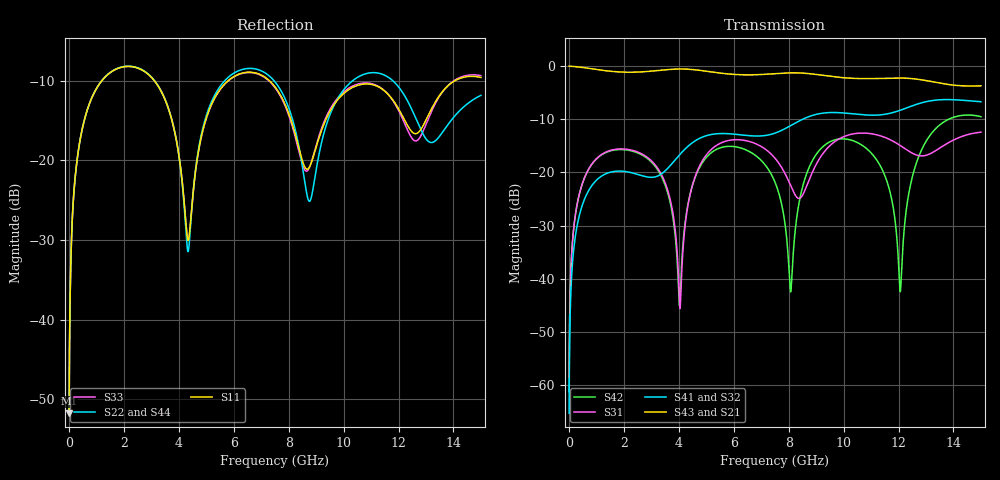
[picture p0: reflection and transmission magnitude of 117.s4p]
! Created with skrf 1.8.0 (http://scikit-rf.org).
# GHz S RI R 50.0
!freq ReS11 ImS11 ReS12 ImS12 ReS13 ImS13
! ReS14 ImS14
! ReS21 ImS21 ReS22 ImS22 ReS23 ImS23
! ReS24 ImS24
! ReS31 ImS31 ReS32 ImS32 ReS33 ImS33
! ReS34 ImS34
! ReS41 ImS41 ReS42 ImS42 ReS43 ImS43
! ReS44 ImS44
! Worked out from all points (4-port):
!   2499 points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, 5 MHz to 15 GHz, reference 50 ohm
!   strongest paths, dB at 5 MHz, 3.476 GHz, 7.19 GHz, 11.1 GHz, 15 GHz:
!     S43: 0.0, -0.7, -1.5, -2.3, -3.7
!     S21: 0.0, -0.7, -1.5, -2.3, -3.7
!     S41: -65.3, -19.8, -13.0, -9.2, -6.7
!     S32: -65.3, -19.9, -13.1, -9.3, -6.8
!     S31: -61.2, -21.6, -15.8, -12.8, -12.4
!     S42: -61.2, -22.0, -18.9, -16.9, -9.5
!   lowest |S11| = -51.8 dB at 5 MHz (marker M1), VSWR 1.01, Z = 50.2 + j0.156 ohm
!   |S11| at or under -10 dB: start of sweep to 1.2 GHz; 3.105 GHz to 5.798 GHz (2.694 GHz wide, 60.5 % of centre); 7.296 GHz to 14.06 GHz (6.767 GHz wide, 63.4 % of centre)
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0.005  0.00206 0.00156  0.9979 -0.00401  0.000107 0.000863  -0.000103 -0.000535
       0.9979 -0.00401  0.00206 0.00156  -0.000103 -0.000535  0.000106 0.000863
       0.000107 0.000863  -0.000103 -0.000535  0.00206 0.00156  0.9979 -0.00401
       -0.000103 -0.000535  0.000106 0.000863  0.9979 -0.00401  0.00206 0.00156
1.269279  0.2774 0.1723  0.5296 -0.7384  0.1395 0.06  -0.0951 -0.00262
          0.5296 -0.7384  0.2788 0.1712  -0.095 -0.00277  0.1358 0.0653
          0.1395 0.06  -0.095 -0.00277  0.2775 0.1722  0.5296 -0.7384
          -0.0951 -0.00262  0.1358 0.0653  0.5296 -0.7384  0.2788 0.1713
4.041364  0.0487 -0.0831  -0.8947 -0.2842  -0.00525 -0.00032  -0.0396 0.1426
          -0.8947 -0.2842  0.0435 -0.0849  -0.0416 0.142  -0.00588 0.00188
          -0.00525 -0.00032  -0.0416 0.142  0.0487 -0.0839  -0.8945 -0.2845
          -0.0396 0.1426  -0.00588 0.00188  -0.8945 -0.2845  0.044 -0.0855
6.771571  0.3527 -0.0287  0.00992 0.8272  0.1391 -0.1258  0.2094 -0.068
          0.00992 0.8272  0.371 -0.0522  0.2092 -0.0625  0.1368 -0.0507
          0.1391 -0.1258  0.2092 -0.0625  0.3505 -0.0307  0.0101 0.8285
          0.2094 -0.068  0.1368 -0.0507  0.0101 0.8285  0.3671 -0.0506
8.972489  0.1046 0.0508  0.8356 -0.022  0.0294 0.1112  -0.0331 -0.3485
          0.8356 -0.022  0.0684 0.0436  -0.0233 -0.3489  0.0525 0.1339
          0.0294 0.1112  -0.0233 -0.3489  0.1048 0.0569  0.8353 -0.0239
          -0.0331 -0.3485  0.0525 0.1339  0.8353 -0.0239  0.0683 0.0472
12.06128  0.1924 -0.0606  -0.4116 -0.6523  -0.0806 -0.1602  -0.3138 0.2216
          -0.4116 -0.6523  0.2383 -0.1471  -0.3236 0.2063  0.00669 0.00354
          -0.0806 -0.1602  -0.3236 0.2063  0.1833 -0.0695  -0.413 -0.6524
          -0.3138 0.2216  0.00669 0.00354  -0.413 -0.6524  0.2403 -0.1385
15  0.324 -0.0675  -0.3735 0.5369  0.2388 -0.01  0.4375 0.1495
    -0.3735 0.5369  0.2553 -0.00745  0.4267 0.1681  0.3346 -0.00542
    0.2388 -0.01  0.4267 0.1681  0.3341 -0.0624  -0.3711 0.5366
    0.4375 0.1495  0.3346 -0.00542  -0.3711 0.5366  0.2522 -0.00737
